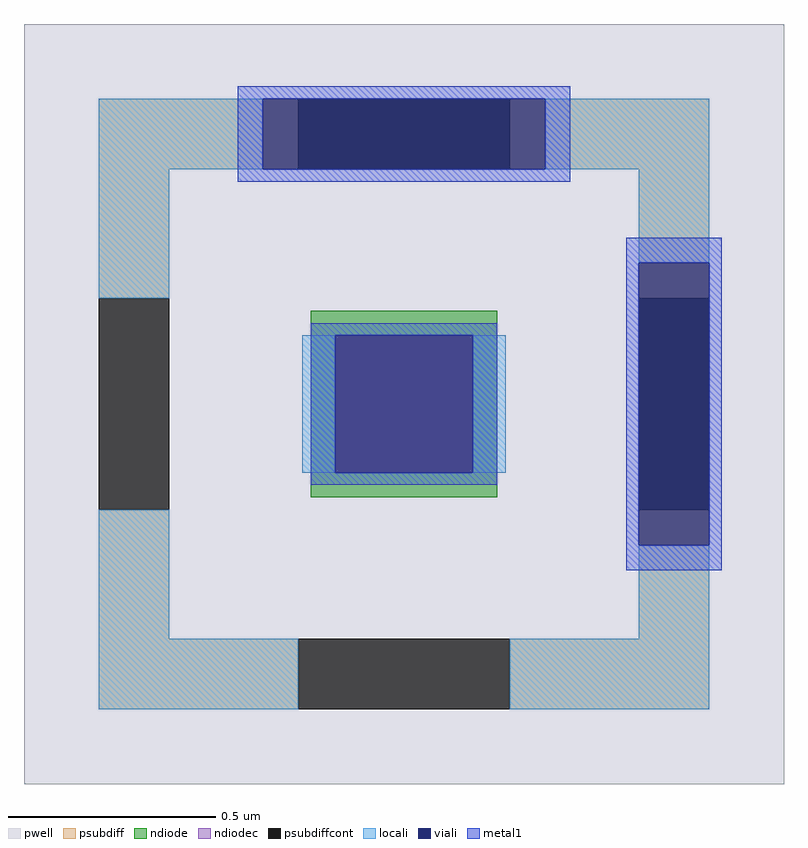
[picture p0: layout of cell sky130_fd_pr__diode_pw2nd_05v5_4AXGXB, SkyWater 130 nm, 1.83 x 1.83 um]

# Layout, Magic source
magic
tech sky130A
magscale 1 2
<< pwell >>
rect -183 -183 183 183
<< psubdiff >>
rect -147 113 -51 147
rect 51 113 147 147
rect -147 51 -113 113
rect 113 51 147 113
rect -147 -113 -113 -51
rect 113 -113 147 -51
rect -147 -147 -51 -113
rect 51 -147 147 -113
<< psubdiffcont >>
rect -51 113 51 147
rect -147 -51 -113 51
rect 113 -51 147 51
rect -51 -147 51 -113
<< ndiode >>
rect -45 33 45 45
rect -45 -33 -33 33
rect 33 -33 45 33
rect -45 -45 45 -33
<< ndiodec >>
rect -33 -33 33 33
<< locali >>
rect -147 113 -68 147
rect 68 113 147 147
rect -147 51 -113 113
rect 113 68 147 113
rect -49 -33 -33 33
rect 33 -33 49 33
rect -147 -113 -113 -51
rect 113 -113 147 -68
rect -147 -147 -51 -113
rect 51 -147 147 -113
<< viali >>
rect -68 113 -51 147
rect -51 113 51 147
rect 51 113 68 147
rect 113 51 147 68
rect -33 -33 33 33
rect 113 -51 147 51
rect 113 -68 147 -51
<< metal1 >>
rect -80 147 80 153
rect -80 113 -68 147
rect 68 113 80 147
rect -80 107 80 113
rect 107 68 153 80
rect -45 33 45 39
rect -45 -33 -33 33
rect 33 -33 45 33
rect -45 -39 45 -33
rect 107 -68 113 68
rect 147 -68 153 68
rect 107 -80 153 -68
<< properties >>
string FIXED_BBOX -130 -130 130 130
string gencell sky130_fd_pr__diode_pw2nd_05v5
string library sky130
string parameters w 0.45 l 0.45 area 203.0m peri 1.8 nx 1 ny 1 dummy 0 lmin 0.45 wmin 0.45 elc 1 erc 1 etc 1 ebc 1 doverlap 0 compatible {sky130_fd_pr__diode_pw2nd_05v5 sky130_fd_pr__diode_pw2nd_05v5_lvt  sky130_fd_pr__diode_pw2nd_05v5_nvt sky130_fd_pr__diode_pw2nd_11v0} full_metal 1 vias 1 viagb 0 viagt 60 viagl 0 viagr 60
<< end >>
